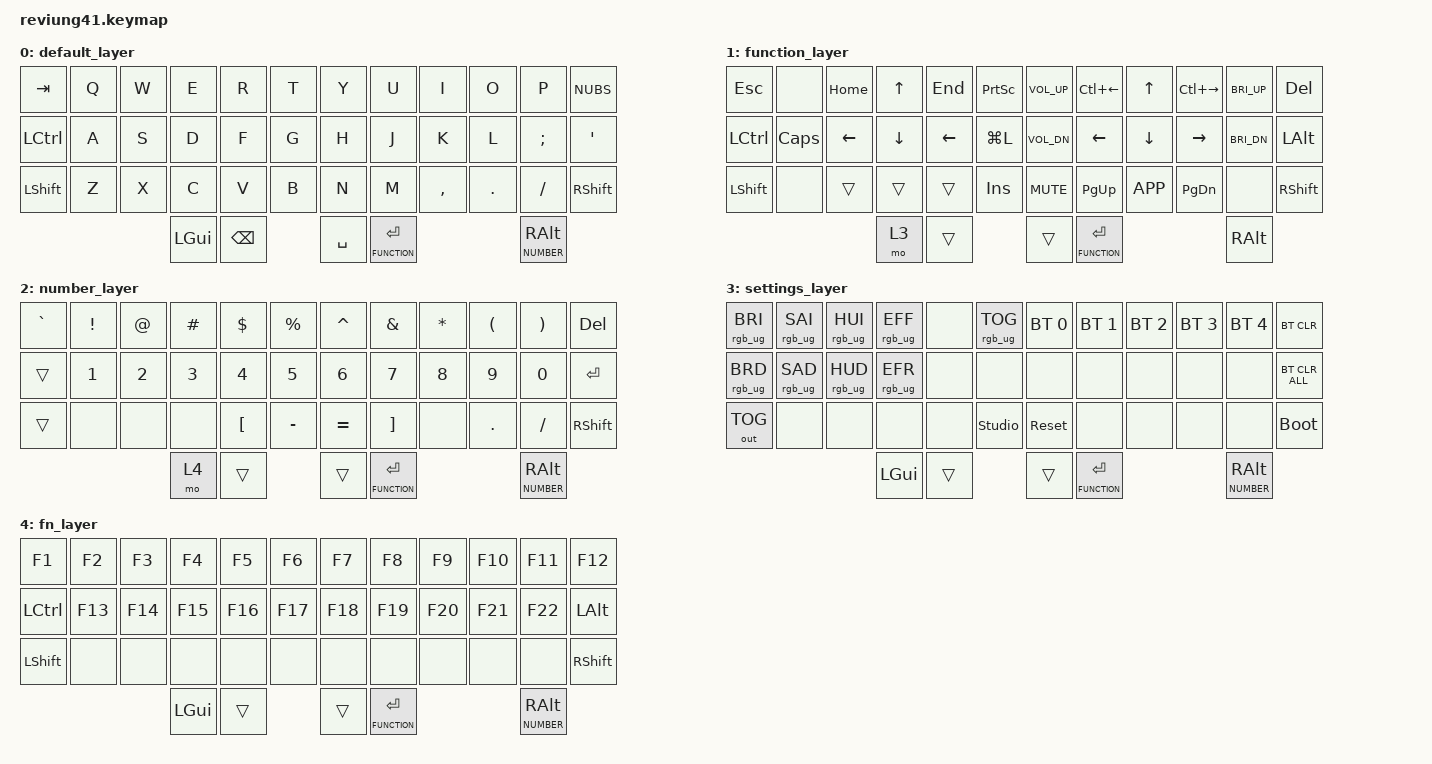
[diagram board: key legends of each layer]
/*
 * Copyright (c) 2020 The ZMK Contributors
 *
 * SPDX-License-Identifier: MIT
 */

#include <behaviors.dtsi>
#include <dt-bindings/zmk/keys.h>
#include <dt-bindings/zmk/bt.h>
#include <dt-bindings/zmk/rgb.h>
#include <dt-bindings/zmk/outputs.h>

#define DEFAULT 0
#define FUNCTION 1
#define NUMBER 2
#define SETTINGS 3
#define FN 4

/ {
        keymap {
                compatible = "zmk,keymap";

                default_layer {
// -------------------------------------------------------------------------------------
// |  TAB |  Q  |  W  |  E  |  R  |  T  |   |  Y  |  U   |  I  |  O  |  P  | NUBS |
// | CTRL |  A  |  S  |  D  |  F  |  G  |   |  H  |  J   |  K  |  L  |  ;  | '    |
// | SHFT |  Z  |  X  |  C  |  V  |  B  |   |  N  |  M   |  ,  |  .  |  /  | SHFT |
//                         | RGUI | BSPC | SPC | ENT  | ALT |
                        bindings = <
   &kp TAB   &kp Q &kp W &kp E &kp R &kp T   &kp Y &kp U  &kp I     &kp O   &kp P    &kp NUBS
   &kp LCTRL &kp A &kp S &kp D &kp F &kp G   &kp H &kp J  &kp K     &kp L   &kp SEMI &kp SQT
   &kp LSHFT &kp Z &kp X &kp C &kp V &kp B   &kp N &kp M  &kp COMMA &kp DOT &kp FSLH &kp RSHFT
                        &kp LGUI  &kp BSPC &kp SPACE &lt FUNCTION ENTER  &lt NUMBER RALT
                        >;
                };

                function_layer {
// ------------------------------------------------------------------------------------
// | ESC    |       |  HOME |  UP   |  END  | PRSCN | Vol Up | Ctl+L |  UP | Ctl+R | SCN + | DELET |
// | LCTRL  |  CAPS |  LEFT |  DOWN | RIGHT | GUI+L | Vol Dn | LEFT  | DWN | RIGHT | SCN - | LALT  |
// | LSHIFT |       |       |       |       |  INS  | MUTE   | PG_UP | App | PG_DN |       | RSHIFT|
//                       | MOVE 3 | BSPC  | SPACE | FUNC ENTER | RALT |
                        bindings = <
   &kp ESC    &none    &kp HOME  &kp UP   &kp END  &kp PSCRN      &kp C_VOL_UP &kp LC(LEFT) &kp UP    &kp LC(RIGHT) &kp C_BRI_UP &kp DEL
   &kp LCTRL  &kp CAPS &kp LEFT  &kp DOWN &kp LEFT &kp LG(L)      &kp C_VOL_DN &kp LEFT     &kp DOWN  &kp RIGHT     &kp C_BRI_DN &kp LALT
   &kp LSHIFT &none    &trans    &trans   &trans   &kp INS        &kp C_MUTE   &kp PG_UP    &kp K_APP &kp PG_DN     &none        &kp RSHIFT
                                 &mo 3      &trans       &trans        &lt FUNCTION ENTER       &kp RALT
                        >;
                };

                number_layer {
// ----------------------------------------------------------------------------
// |    |  1  |  2  |  3  |  4  |  5  |   |  6  |  7  |  8  |  9  |  0  | DEL |
// |    |  -  |  =  |  [  |  ]  |  \  |   | F1  | F2  | F3  | F4  | F5  | F6  |
// |    | ESC | GUI | ALT | CAPS|  "  |   | F7  | F8  | F9  | F10 | F11 | F12 |
//                       |     | ADJ | BSPC |    |     |
                        bindings = <
   &kp GRAVE &kp EXCL &kp AT &kp HASH &kp DOLLAR &kp PERCENT &kp CARET &kp AMPS &kp ASTERISK &kp LPAR  &kp RPAR &kp DEL
   &trans    &kp N1   &kp N2 &kp N3   &kp N4     &kp N5      &kp N6    &kp N7   &kp N8       &kp N9    &kp N0   &kp ENTER
   &trans    &none    &none  &none    &kp LBKT   &kp MINUS   &kp EQUAL &kp RBKT &none        &kp DOT   &kp FSLH &kp RSHIFT
                                &mo 4      &trans       &trans        &lt FUNCTION ENTER      &lt NUMBER RALT
                        >;
                };

                settings_layer {
// -----------------------------------------------------------------------------------------
// | RGB BRI+ | RGB SAT+ | RGB HUE+ | RGB ANI+ |    | RGB TOG |   |  BT1  | BT2 | BT3 | BT4 | BT5 | BT CLR |
// | RGB BRI- | RGB SAT- | RGB HUE- | RGB ANI- |    |         |   |       |     |     |     |     |        |
// |          |          |          |          |    | Studio  |   | RESET |     |     |     |     |        |
//                                              |     |     |     |     |     |
                        bindings = <
   &rgb_ug RGB_BRI &rgb_ug RGB_SAI &rgb_ug RGB_HUI &rgb_ug RGB_EFF &none &rgb_ug RGB_TOG    &bt BT_SEL 0 &bt BT_SEL 1 &bt BT_SEL 2 &bt BT_SEL 3 &bt BT_SEL 4 &bt BT_CLR
   &rgb_ug RGB_BRD &rgb_ug RGB_SAD &rgb_ug RGB_HUD &rgb_ug RGB_EFR &none &none              &none        &none        &none        &none        &none        &bt BT_CLR_ALL
   &out OUT_TOG    &none           &none           &none           &none &studio_unlock     &sys_reset   &none        &none        &none        &none        &bootloader
                                        &kp LGUI      &trans       &trans       &lt FUNCTION ENTER     &lt NUMBER RALT
                        >;
                };
                
                fn_layer {
// -----------------------------------------------------------------------------------------
// | F1     | F2  | F3  | F4  | F5  | F6  | F7  | F8  | F9  | F10 | F11 | F12  |
// | LCTRL  | F13 | F14 | F15 | F16 | F17 | F18 | F19 | F20 | F21 | F22 | LALT |      
// | LSHIFT |     |     |     |     |     |     |     |     |     |     |      |
//                                     |     |     |     |     |     |
                        bindings = <
   &kp F1     &kp F2  &kp F3  &kp F4  &kp F5  &kp F6    &kp F7  &kp F8  &kp F9  &kp F10  &kp F11 &kp F12
   &kp LCTRL  &kp F13 &kp F14 &kp F15 &kp F16 &kp F17   &kp F18 &kp F19 &kp F20 &kp F21  &kp F22 &kp LALT
   &kp LSHIFT &none   &none   &none   &none   &none     &none   &none   &none   &none    &none   &kp RSHIFT
                &kp LGUI      &trans       &trans        &lt FUNCTION ENTER     &lt NUMBER RALT
                        >;
                };
        studio1_layer {
            status = "reserved";
        };
        studio2_layer {
            status = "reserved";
        };
        studio3_layer {
            status = "reserved";
        };
        studio4_layer {
            status = "reserved";
        };
        studio5_layer {
            status = "reserved";
        };
    };
};
